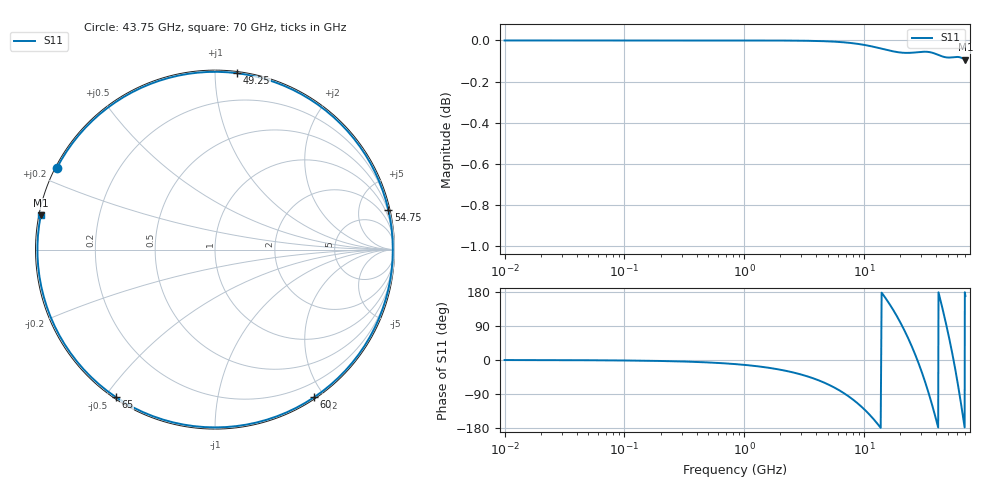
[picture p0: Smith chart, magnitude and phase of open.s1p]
! Exported by Keysight XKT CalKit Viewer
! Standard: OPEN BB -F-
# Hz S RI R 50
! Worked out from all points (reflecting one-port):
!   508 points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, 10 MHz to 70 GHz, reference 50 ohm
!   lowest |S11| = -0.1 dB at 70 GHz (marker M1), VSWR 185.27, Z = 0.272 + j4.89 ohm
!   phase of S11 starts at -0 deg and turns -911 deg over the sweep
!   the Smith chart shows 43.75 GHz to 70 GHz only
!   S11 on the Smith chart (normalised r, x): 43.75 GHz: 0.00, +0.24; 49.25 GHz: 0.01, +1.13; 54.75 GHz: 0.37, +8.78; 60 GHz: 0.02, -1.87; 65 GHz: 0.01, -0.53; 70 GHz: 0.01, +0.10
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1e7  1 -0.00225
3.5e7  1 -0.00786
9.5e7  0.9998 -0.0213
3e8  0.9977 -0.0673
8.5e8  0.9819 -0.1895
2.55e9  0.841 -0.5409
4.65e9  0.5024 -0.8641
7.7e9  -0.1658 -0.9847
1.075e10  -0.7599 -0.6456
1.475e10  -0.9726 0.2103
1.925e10  -0.33 0.937
2.325e10  0.5236 0.8438
2.625e10  0.9341 0.3378
2.875e10  0.9712 -0.2093
3.125e10  0.7096 -0.6956
3.45e10  0.0566 -0.992
3.95e10  -0.8772 -0.4644
4.375e10  -0.8824 0.4519
4.675e10  -0.4125 0.9008
4.925e10  0.1215 0.983
5.175e10  0.6191 0.7731
5.475e10  0.9654 0.2223
5.725e10  0.9334 -0.3321
6e10  0.5517 -0.823
6.25e10  5.98e-05 -0.9907
6.5e10  -0.5543 -0.8206
6.75e10  -0.9168 -0.3731
7e10  -0.9705 0.1919
